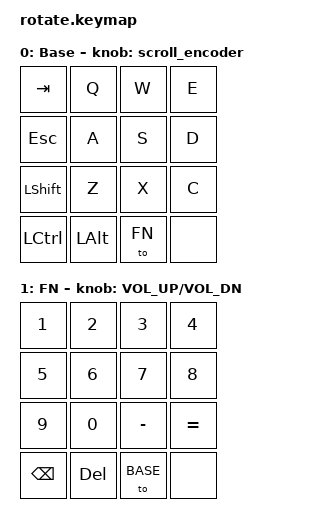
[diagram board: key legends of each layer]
// Rotate 键盘键位映射
// 14个按键 + EC11编码器
// 布局: 4列 x 4行 (第4行第3列是编码器按键)
//
// ┌────┬────┬────┬────┐
// │ k1 │ k2 │ k3 │ k4 │  第1行
// ├────┼────┼────┼────┤
// │ k5 │ k6 │ k7 │ k8 │  第2行
// ├────┼────┼────┼────┤
// │ k9 │k10 │k11 │k12 │  第3行
// ├────┼────┤         │
// │k13 │k14 │ enc_btn │  第4行 (编码器按键切换层)
// └────┴────┴─────────┘

#include <behaviors.dtsi>
#include <dt-bindings/zmk/keys.h>
#include <dt-bindings/zmk/bt.h>
#include <dt-bindings/zmk/outputs.h>

// 每次 tick 发送滚动值 1: 63 * 16ms / 1000 = 1.008 → 取整为 1
#define ZMK_POINTING_DEFAULT_SCRL_VAL 63

#include <dt-bindings/zmk/pointing.h>

#define BASE 0
#define FN   1

/ {
    // 自定义编码器行为: 鼠标滚轮
    // 使用 zmk,behavior-sensor-rotate 包装 &msc
    behaviors {
        scroll_encoder: scroll_encoder {
            compatible = "zmk,behavior-sensor-rotate";
            #sensor-binding-cells = <0>;
            bindings = <&msc SCRL_UP>, <&msc SCRL_DOWN>;
            // tap-ms 控制 press 和 release 之间的延迟
            // 32ms: tick_work (每16ms) 触发2次, 每次发送值1, 总计2格
            // 持续时间32ms < 50ms 要求
            tap-ms = <32>;
        };
    };

    keymap {
        compatible = "zmk,keymap";

        default_layer {
            display-name = "Base";
            // 第1行:  Tab    Q      W      E
            // 第2行:  Esc    A      S      D
            // 第3行:  Shift  Z      X      C
            // 第4行:  Ctrl   Alt    [编码器按键=切层]  (第4列空)
            bindings = <
                &kp TAB  &kp Q    &kp W    &kp E
                &kp ESC  &kp A    &kp S    &kp D
                &kp LSHFT &kp Z   &kp X    &kp C
                &kp LCTRL &kp LALT &to FN  &none
            >;

            // 编码器旋转: 鼠标滚轮上下滚动
            sensor-bindings = <&scroll_encoder>;
        };

        fn_layer {
            display-name = "FN";
            // 第1行:  1      2       3       4
            // 第2行:  5      6       7       8
            // 第3行:  9      0       -       =
            // 第4行:  BSPC   DEL    [编码器按键=切回]  (第4列空)
            bindings = <
                &kp N1    &kp N2    &kp N3    &kp N4
                &kp N5    &kp N6    &kp N7    &kp N8
                &kp N9    &kp N0    &kp MINUS &kp EQUAL
                &kp BSPC  &kp DEL   &to BASE  &none
            >;

            // 编码器旋转: 音量控制
            sensor-bindings = <&inc_dec_kp C_VOL_UP C_VOL_DN>;
        };
    };
};
